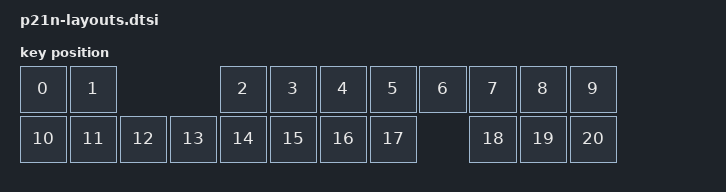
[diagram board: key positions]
#include <physical_layouts.dtsi>

/ {
    physical_layout0: physical_layout_0 {
        compatible = "zmk,physical-layout";
        display-name = "X.Tips P21n";

        kscan = <&kscan0>;
        transform = <&default_transform>;

        keys  //                     w   h    x    y     rot    rx    ry
            = <&key_physical_attrs 100 100    0    0       0     0     0>
            , <&key_physical_attrs 100 100  100    0       0     0     0>

            , <&key_physical_attrs 100 100  400    0       0     0     0>
            , <&key_physical_attrs 100 100  500    0       0     0     0>
            , <&key_physical_attrs 100 100  600    0       0     0     0>
            , <&key_physical_attrs 100 100  700    0       0     0     0>
            , <&key_physical_attrs 100 100  800    0       0     0     0>
            , <&key_physical_attrs 100 100  900    0       0     0     0>
            , <&key_physical_attrs 100 100  1000   0       0     0     0>
            , <&key_physical_attrs 100 100  1100   0       0     0     0>

            , <&key_physical_attrs 100 100    0  100       0     0     0>
            , <&key_physical_attrs 100 100  100  100       0     0     0>
            , <&key_physical_attrs 100 100  200  100       0     0     0>
            , <&key_physical_attrs 100 100  300  100       0     0     0>
            , <&key_physical_attrs 100 100  400  100       0     0     0>
            , <&key_physical_attrs 100 100  500  100       0     0     0>
            , <&key_physical_attrs 100 100  600  100       0     0     0>
            , <&key_physical_attrs 100 100  700  100       0     0     0>

            , <&key_physical_attrs 100 100  900  100       0     0     0>
            , <&key_physical_attrs 100 100  1000 100       0     0     0>
            , <&key_physical_attrs 100 100  1100 100       0     0     0>
            ;
    };
};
